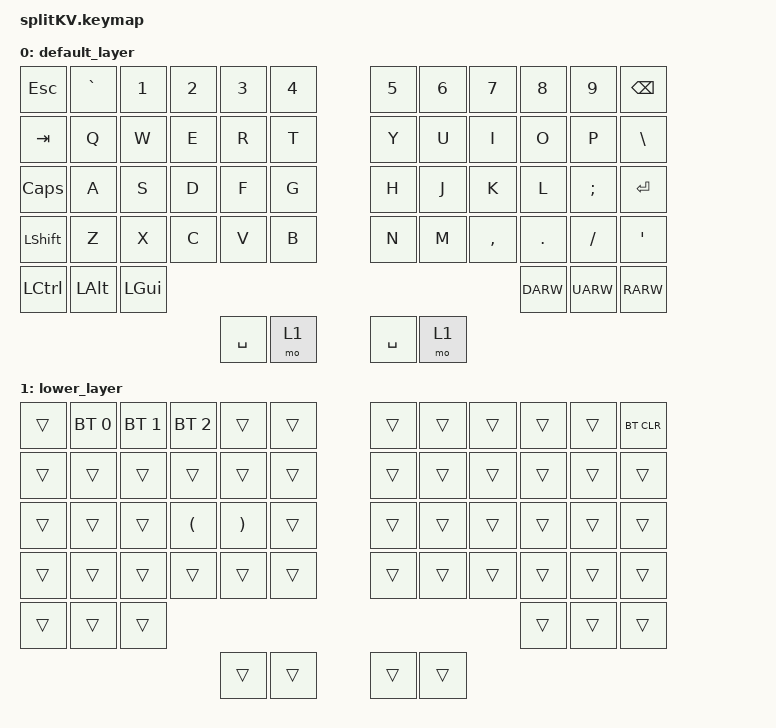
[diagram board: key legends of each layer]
#include <behaviors.dtsi>
#include <dt-bindings/zmk/keys.h>
#include <dt-bindings/zmk/bt.h>

/ {
        keymap {
                compatible = "zmk,keymap";

                default_layer {


                        bindings = <
    &kp ESC    &kp GRAVE &kp N1    &kp N2     &kp N3     &kp N4               &kp N5     &kp N6  &kp N7     &kp N8    &kp N9    &kp BSPC
    &kp TAB    &kp Q     &kp W     &kp E      &kp R      &kp T                &kp Y      &kp U   &kp I      &kp O     &kp P     &kp BSLH
    &kp CAPS   &kp A     &kp S     &kp D      &kp F      &kp G                &kp H      &kp J   &kp K      &kp L     &kp SEMI  &kp RET
    &kp LSHFT  &kp Z     &kp X     &kp C      &kp V      &kp B                &kp N      &kp M   &kp COMMA  &kp DOT   &kp FSLH  &kp APOS
    &kp LCTRL  &kp LALT  &kp LGUI                                                                           &kp DARW  &kp UARW  &kp RARW
                                              &kp SPACE   &mo 1               &kp SPACE   &mo 1
                        >;
                };
                lower_layer {

                        bindings = <
   &trans    &bt BT_SEL 0   &bt BT_SEL 1   &bt BT_SEL 2   &trans         &trans                 &trans    &trans    &trans   &trans   &trans  &bt BT_CLR
   &trans    &trans         &trans         &trans         &trans         &trans                 &trans    &trans    &trans   &trans   &trans  &trans
   &trans    &trans         &trans         &kp LPAR       &kp RPAR       &trans                 &trans    &trans    &trans   &trans   &trans  &trans
   &trans    &trans         &trans         &trans         &trans         &trans                 &trans    &trans    &trans   &trans   &trans  &trans
   &trans    &trans         &trans                                                                                           &trans   &trans  &trans
                                                          &trans         &trans                 &trans    &trans
                        >;
                };
        };
};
